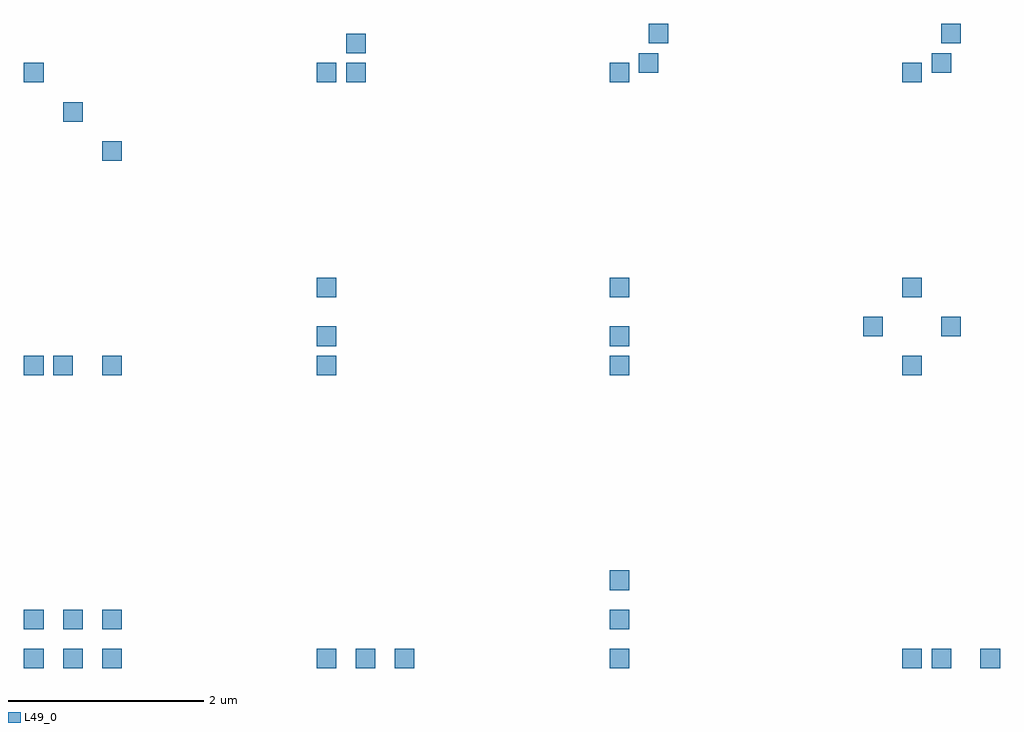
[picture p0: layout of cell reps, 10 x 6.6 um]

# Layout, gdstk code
import gdstk
lib = gdstk.Library(unit=1e-6, precision=1e-09)
def R(c, l, rs):  # rectangles x0, y0, x1, y1
    for r in rs: c.add(gdstk.rectangle(r[:2], r[2:], *l))
def A(c, l, x, y, w, h, nx, ny, dx, dy):  # array of equal rectangles
    R(c, l, [(x+i*dx, y+j*dy, x+i*dx+w, y+j*dy+h) for i in range(nx) for j in range(ny)])
L49_0 = (49, 0)

reps = lib.new_cell('reps')
A(reps, L49_0, 0, 0, 0.2, 0.2, 3, 2, 0.4, 0.4)
A(reps, L49_0, 3, 0, 0.2, 0.2, 3, 1, 0.4, 0)
A(reps, L49_0, 6, 0, 0.2, 0.2, 1, 3, 0, 0.4)
A(reps, L49_0, 3, 3, 0.2, 0.2, 3, 2, 3, 0.8)
R(reps, L49_0, [(9,0,9.2,0.2), (9.3,0,9.5,0.2), (9.8,0,10,0.2), (0,3,0.2,3.2), (0.3,3,0.5,3.2), (0.8,3,1,3.2), (3,3.3,3.2,3.5), (6,3.3,6.2,3.5), (8.6,3.4,8.8,3.6), (9.4,3.4,9.6,3.6), (0.8,5.2,1,5.4), (0.4,5.6,0.6,5.8), (0,6,0.2,6.2), (3,6,3.2,6.2), (3.3,6,3.5,6.2), (6,6,6.2,6.2), (9,6,9.2,6.2), (6.3,6.1,6.5,6.3), (9.3,6.1,9.5,6.3), (3.3,6.3,3.5,6.5), (6.4,6.4,6.6,6.6), (9.4,6.4,9.6,6.6)])

lib.write_gds('reps.gds')
